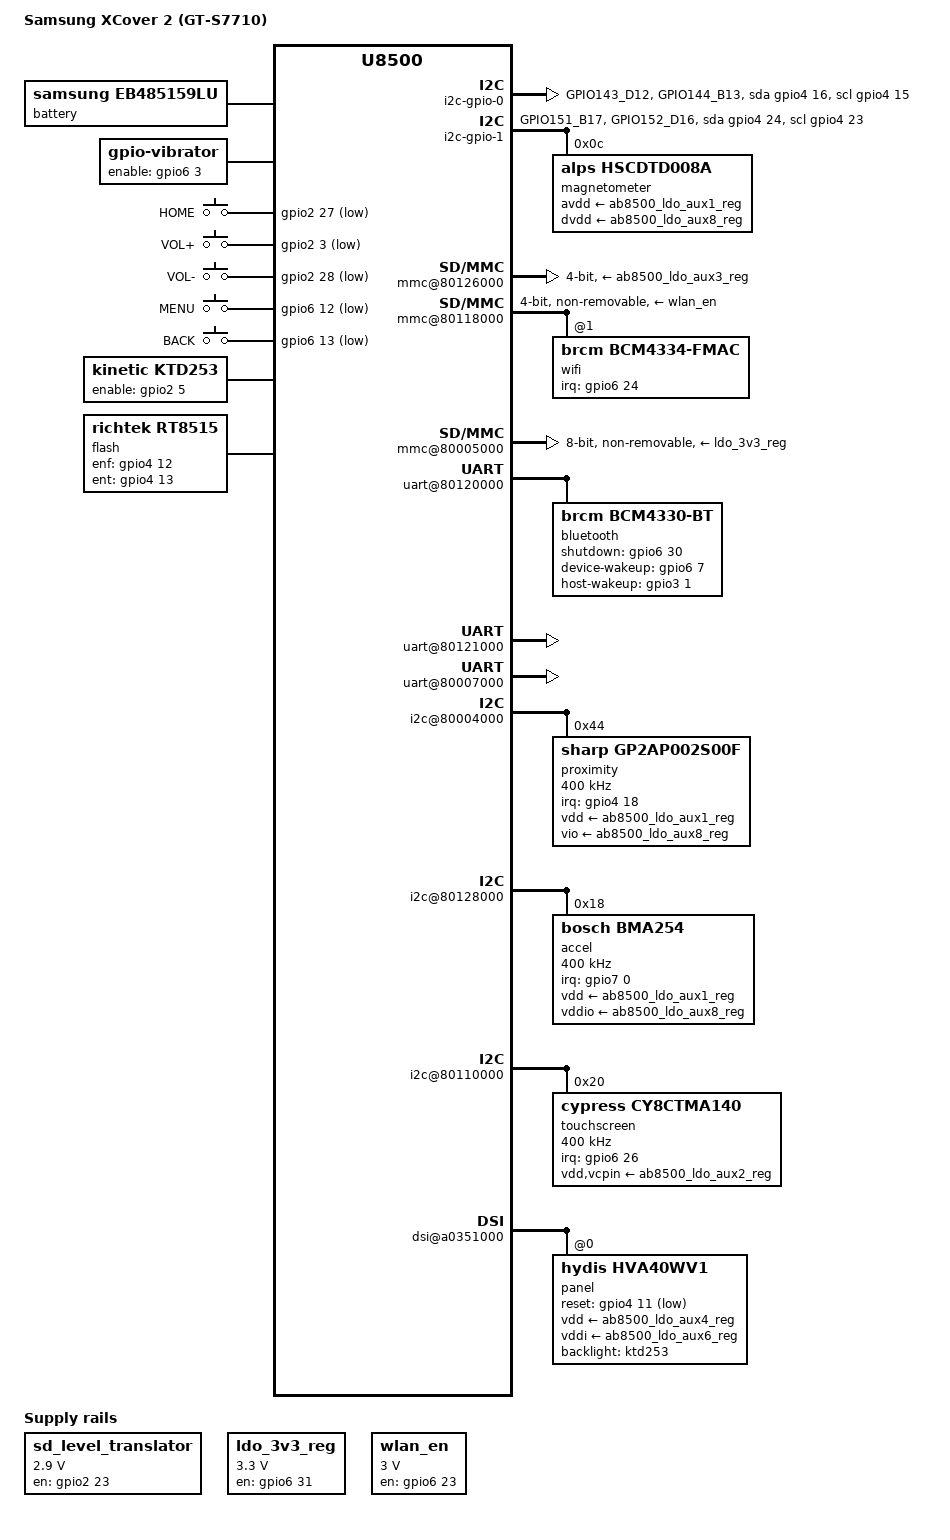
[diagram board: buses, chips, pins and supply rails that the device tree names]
// SPDX-License-Identifier: GPL-2.0-only
/*
 * Devicetree for the Samsung XCover 2 GT-S7710 also known as Skomer.
 */

/dts-v1/;
#include "ste-db8500.dtsi"
#include "ste-ab8505.dtsi"
#include "ste-dbx5x0-pinctrl.dtsi"
#include <dt-bindings/gpio/gpio.h>
#include <dt-bindings/leds/common.h>
#include <dt-bindings/input/input.h>
#include <dt-bindings/interrupt-controller/irq.h>

/ {
	model = "Samsung XCover 2 (GT-S7710)";
	compatible = "samsung,skomer", "st-ericsson,u8500";

	chosen {
		stdout-path = &serial2;
	};

	battery: battery {
		compatible = "samsung,eb485159lu";
	};

	/* TI TXS0206 level translator for 2.9 V */
	sd_level_translator: regulator-gpio {
		compatible = "regulator-fixed";

		/* GPIO87 EN */
		gpios = <&gpio2 23 GPIO_ACTIVE_HIGH>;
		enable-active-high;

		regulator-name = "sd-level-translator";
		regulator-min-microvolt = <2900000>;
		regulator-max-microvolt = <2900000>;
		regulator-type = "voltage";

		startup-delay-us = <200>;

		pinctrl-names = "default";
		pinctrl-0 = <&sd_level_translator_default>;
	};

	/* External LDO MIC5366-3.3YMT for eMMC */
	ldo_3v3_reg: regulator-gpio-ldo-3v3 {
		compatible = "regulator-fixed";
		regulator-name = "en-3v3-fixed-supply";
		regulator-min-microvolt = <3300000>;
		regulator-max-microvolt = <3300000>;
		gpio = <&gpio6 31 GPIO_ACTIVE_HIGH>;
		startup-delay-us = <5000>;
		enable-active-high;
		pinctrl-names = "default";
		pinctrl-0 = <&emmc_ldo_en_default_mode>;
	};

	wlan_en: regulator-gpio-wlan-en {
		compatible = "regulator-fixed";
		regulator-name = "wl-reg-on";
		regulator-min-microvolt = <3000000>;
		regulator-max-microvolt = <3000000>;
		startup-delay-us = <200000>;
		/* GPIO215 WLAN_EN */
		gpio = <&gpio6 23 GPIO_ACTIVE_HIGH>;
		enable-active-high;
		pinctrl-names = "default";
		pinctrl-0 = <&wlan_en_default_mode>;
	};

	vibrator {
		compatible = "gpio-vibrator";
		enable-gpios = <&gpio6 3 GPIO_ACTIVE_HIGH>;
		pinctrl-names = "default";
		pinctrl-0 = <&vibrator_default>;
	};

	gpio-keys {
		compatible = "gpio-keys";
		pinctrl-names = "default";
		pinctrl-0 = <&gpio_keys_default_mode>;

		button-home {
			linux,code = <KEY_HOME>;
			label = "HOME";
			/* GPIO91 */
			gpios = <&gpio2 27 GPIO_ACTIVE_LOW>;
		};
		button-volup {
			linux,code = <KEY_VOLUMEUP>;
			label = "VOL+";
			/* GPIO67 */
			gpios = <&gpio2 3 GPIO_ACTIVE_LOW>;
		};
		button-voldown {
			linux,code = <KEY_VOLUMEDOWN>;
			label = "VOL-";
			/* GPIO92 */
			gpios = <&gpio2 28 GPIO_ACTIVE_LOW>;
		};
		button-menu {
			linux,code = <KEY_MENU>;
			label = "MENU";
			/* GPIO204 */
			gpios = <&gpio6 12 GPIO_ACTIVE_LOW>;
		};
		button-back {
			linux,code = <KEY_BACK>;
			label = "BACK";
			/* GPIO205 */
			gpios = <&gpio6 13 GPIO_ACTIVE_LOW>;
		};
	};

	ktd253: backlight {
		compatible = "kinetic,ktd253";
		/* GPIO 69 */
		enable-gpios = <&gpio2 5 GPIO_ACTIVE_HIGH>;
		/* Default to 13/32 brightness */
		default-brightness = <13>;
		pinctrl-names = "default";
		pinctrl-0 = <&gpio_backlight_default_mode>;
	};

	/* Richtek RT8515GQW Flash LED Driver IC */
	flash {
		compatible = "richtek,rt8515";
		/* GPIO 140 */
		enf-gpios = <&gpio4 12 GPIO_ACTIVE_HIGH>;
		/* GPIO 141 */
		ent-gpios = <&gpio4 13 GPIO_ACTIVE_HIGH>;
		/*
		 * RFS is 16 kOhm and RTS is 100 kOhm giving
		 * the flash max current 343mA and torch max
		 * current 55 mA.
		 */
		richtek,rfs-ohms = <16000>;
		richtek,rts-ohms = <100000>;
		pinctrl-names = "default";
		pinctrl-0 = <&gpio_flash_default_mode>;

		led {
			function = LED_FUNCTION_FLASH;
			color = <LED_COLOR_ID_WHITE>;
			flash-max-timeout-us = <250000>;
			flash-max-microamp = <343750>;
			led-max-microamp = <55000>;
		};
	};

	i2c-gpio-0 {
		compatible = "i2c-gpio";
		sda-gpios = <&gpio4 16 (GPIO_ACTIVE_HIGH|GPIO_OPEN_DRAIN)>;
		scl-gpios = <&gpio4 15 (GPIO_ACTIVE_HIGH|GPIO_OPEN_DRAIN)>;
		pinctrl-names = "default";
		pinctrl-0 = <&i2c_gpio_0_default>;
		#address-cells = <1>;
		#size-cells = <0>;
		/* TODO: this should be used by the NCP6914 Camera power management unit */
	};

	i2c-gpio-1 {
		compatible = "i2c-gpio";
		sda-gpios = <&gpio4 24 (GPIO_ACTIVE_HIGH|GPIO_OPEN_DRAIN)>;
		scl-gpios = <&gpio4 23 (GPIO_ACTIVE_HIGH|GPIO_OPEN_DRAIN)>;
		pinctrl-names = "default";
		pinctrl-0 = <&i2c_gpio_1_default>;
		#address-cells = <1>;
		#size-cells = <0>;
		magnetometer@c {
			compatible = "alps,hscdtd008a";
			reg = <0x0c>;
			avdd-supply = <&ab8500_ldo_aux1_reg>;
			dvdd-supply = <&ab8500_ldo_aux8_reg>;
		};
	};

	soc {
		// External Micro SD slot
		mmc@80126000 {
			arm,primecell-periphid = <0x10480180>;
			max-frequency = <100000000>;
			bus-width = <4>;
			cap-sd-highspeed;
			cap-mmc-highspeed;
			/* All direction control is used */
			st,sig-pin-fbclk;
			full-pwr-cycle;
			vmmc-supply = <&ab8500_ldo_aux3_reg>;
			vqmmc-supply = <&sd_level_translator>;
			pinctrl-names = "default", "sleep";
			pinctrl-0 = <&mc0_a_1_default>;
			pinctrl-1 = <&mc0_a_1_sleep>;
			status = "okay";
		};

		// WLAN SDIO channel
		mmc@80118000 {
			arm,primecell-periphid = <0x10480180>;
			max-frequency = <50000000>;
			bus-width = <4>;
			non-removable;
			cap-sd-highspeed;
			vmmc-supply = <&wlan_en>;
			pinctrl-names = "default", "sleep";
			pinctrl-0 = <&mc1_a_2_default>;
			pinctrl-1 = <&mc1_a_2_sleep>;
			status = "okay";
			#address-cells = <1>;
			#size-cells = <0>;

			wifi@1 {
				compatible = "brcm,bcm4334-fmac", "brcm,bcm4329-fmac";
				reg = <1>;
				/* GPIO216 WL_HOST_WAKE */
				interrupt-parent = <&gpio6>;
				interrupts = <24 IRQ_TYPE_EDGE_FALLING>;
				interrupt-names = "host-wake";
				pinctrl-names = "default";
				pinctrl-0 = <&wlan_default_mode>;
			};
		};

		/*
		 * eMMC seems to be mostly Samsung KLM4G1YE4C "4YMD1R"
		 */
		mmc@80005000 {
			arm,primecell-periphid = <0x10480180>;
		        max-frequency = <100000000>;
			bus-width = <8>;
			non-removable;
			cap-mmc-highspeed;
			mmc-ddr-1_8v;
			no-sdio;
			no-sd;
			/* From datasheet page 26 figure 9: 300 ms set-up time for 4GB */
			post-power-on-delay-ms = <300>;
			vmmc-supply = <&ldo_3v3_reg>;
			pinctrl-names = "default", "sleep";
			pinctrl-0 = <&mc2_a_1_default>;
			pinctrl-1 = <&mc2_a_1_sleep>;

			status = "okay";
		};

		/* GBF (Bluetooth) UART */
		uart@80120000 {
			pinctrl-names = "default", "sleep";
			pinctrl-0 = <&u0_a_1_default>;
			pinctrl-1 = <&u0_a_1_sleep>;
			status = "okay";

			/* FIXME: not quite working yet, probably needs regulators */
			bluetooth {
				/* BCM4334B0 actually */
				compatible = "brcm,bcm4330-bt";
				shutdown-gpios = <&gpio6 30 GPIO_ACTIVE_HIGH>;
				device-wakeup-gpios = <&gpio6 7 GPIO_ACTIVE_HIGH>;
				host-wakeup-gpios = <&gpio3 1 GPIO_ACTIVE_HIGH>;
				pinctrl-names = "default";
				pinctrl-0 = <&bluetooth_default_mode>;
			};
		};

		/* GPF UART */
		uart@80121000 {
			status = "okay";
			pinctrl-names = "default", "sleep";
			pinctrl-0 = <&u1rxtx_a_1_default &u1ctsrts_a_1_default>;
			pinctrl-1 = <&u1rxtx_a_1_sleep &u1ctsrts_a_1_sleep>;
		};

		/* Debugging console UART connected to AB8505 USB */
		uart@80007000 {
			status = "okay";
			pinctrl-names = "default", "sleep";
			pinctrl-0 = <&u2rxtx_c_1_default>;
			pinctrl-1 = <&u2rxtx_c_1_sleep>;
		};

		prcmu@80157000 {
			ab8505 {
				ab8500_usb {
					pinctrl-names = "default", "sleep";
					pinctrl-0 = <&usb_a_1_default>;
					pinctrl-1 = <&usb_a_1_sleep>;
				};

				ab8505-regulators {
					ab8500_ldo_aux1 {
						/* Used for VDD for sensors */
						regulator-name = "AUX1";
						regulator-min-microvolt = <3000000>;
						regulator-max-microvolt = <3300000>;
					};

					ab8500_ldo_aux2 {
						/* Supplies the Cypress TMA140 touchscreen only with 3.0V */
						regulator-name = "AUX2";
						regulator-min-microvolt = <3000000>;
						regulator-max-microvolt = <3000000>;
					};

					ab8500_ldo_aux3 {
						/* Used for voltage for external MMC/SD card */
						regulator-name = "AUX3";
						regulator-min-microvolt = <1100000>;
						regulator-max-microvolt = <3300000>;
					};

					ab8500_ldo_aux4 {
						regulator-name = "AUX4";
						/* Hammer to 3.0V for the display */
						regulator-min-microvolt = <3000000>;
						regulator-max-microvolt = <3000000>;
					};

					ab8500_ldo_aux5 {
						regulator-name = "AUX5";
						/* Intended for 1V8 for touchscreen but actually left unused */
						regulator-min-microvolt = <1050000>;
						regulator-max-microvolt = <2790000>;
					};

					ab8500_ldo_aux6 {
						regulator-name = "AUX6";
						/* Hammer to 1.8V for the display */
						regulator-min-microvolt = <1800000>;
						regulator-max-microvolt = <1800000>;
					};

					ab8500_ldo_aux8 {
						/* Mostly VIO for sensors */
						regulator-name = "AUX8";
					};
				};
			};
		};

		/* I2C0 */
		i2c@80004000 {
			status = "okay";

			pinctrl-names = "default", "sleep";
			pinctrl-0 = <&i2c0_a_1_default>;
			pinctrl-1 = <&i2c0_a_1_sleep>;

			proximity@44 {
				compatible = "sharp,gp2ap002s00f";
				clock-frequency = <400000>;
				reg = <0x44>;

				interrupt-parent = <&gpio4>;
				interrupts = <18 IRQ_TYPE_EDGE_FALLING>;
				vdd-supply = <&ab8500_ldo_aux1_reg>;
				vio-supply = <&ab8500_ldo_aux8_reg>;
				pinctrl-names = "default";
				pinctrl-0 = <&gp2ap002_skomer_default>;
				sharp,proximity-far-hysteresis = /bits/ 8 <0x2f>;
				sharp,proximity-close-hysteresis = /bits/ 8 <0x0f>;
			};
		};


		/* I2C2 */
		i2c@80128000 {
			status = "okay";

			pinctrl-names = "default", "sleep";
			pinctrl-0 = <&i2c2_b_2_default>;
			pinctrl-1 = <&i2c2_b_2_sleep>;

			accel@18 {
				compatible = "bosch,bma254";
				clock-frequency = <400000>;
				reg = <0x18>;

				/* GPIO224 used as "smart alert" interrupt */
				interrupt-parent = <&gpio7>;
				interrupts = <0 IRQ_TYPE_EDGE_RISING>;

				mount-matrix = "0", "-1", "0",
					      "1", "0", "0",
					       "0", "0", "1";
				vdd-supply = <&ab8500_ldo_aux1_reg>;
				vddio-supply = <&ab8500_ldo_aux8_reg>;
				pinctrl-names = "default";
				pinctrl-0 = <&bma254_skomer_default>;
			};
		};

		/* I2C3 */
		i2c@80110000 {
			status = "okay";

			pinctrl-names = "default", "sleep";
			pinctrl-0 = <&i2c3_c_2_default>;
			pinctrl-1 = <&i2c3_c_2_sleep>;

			/* Cypress CY8CTMA140 touchscreen */
			touchscreen@20 {
				compatible = "cypress,cy8ctma140";
				clock-frequency = <400000>;
				reg = <0x20>;

				touchscreen-size-x = <480>;
				touchscreen-size-y = <800>;
				touchscreen-max-pressure = <255>;

				/* GPIO218 for IRQ */
				interrupt-parent = <&gpio6>;
				interrupts = <26 IRQ_TYPE_EDGE_FALLING>;

				/* VDD is "digital supply" nominally 1.71-3.6V */
				vdd-supply = <&ab8500_ldo_aux2_reg>;
				/* VCPIN is "analog supply", 2.7-3.6 V */
				vcpin-supply = <&ab8500_ldo_aux2_reg>;

				pinctrl-names = "default";
				pinctrl-0 = <&tma140_skomer_default>;
			};
		};

		mcde@a0350000 {
			status = "okay";
			pinctrl-names = "default";
			pinctrl-0 = <&dsi_default_mode>;

			dsi@a0351000 {
				panel {
					/* NT35510-based Hydis HVA40WV1 */
					compatible = "hydis,hva40wv1", "novatek,nt35510";
					reg = <0>;
					/* v_lcd_3v0 2.3-4.8V */
					vdd-supply = <&ab8500_ldo_aux4_reg>;
					/* v_lcd_1v8 1.65-3.3V */
					vddi-supply = <&ab8500_ldo_aux6_reg>;
					/* GPIO 139 */
					reset-gpios = <&gpio4 11 GPIO_ACTIVE_LOW>;
					pinctrl-names = "default";
					pinctrl-0 = <&display_default_mode>;
					backlight = <&ktd253>;
				};
			};
		};
	};
};

&pinctrl {
	sdi0 {
		mc0_a_1_default {
			default_cfg1 {
				/* GPIO18, 19 & 20 unused so pull down */
				ste,config = <&gpio_in_pd>;
			};
		};
	};

	/* This is a reset line for the eMMC */
	sdi2 {
		mc2_a_1_default {
			default_cfg2 {
				pins = "GPIO130_C8"; /* FBCLK */
				ste,config = <&gpio_in_pd>;
			};
		};
	};

	mcde {
		dsi_default_mode: dsi_default {
			default_mux1 {
				/* Mux in VSI0 used for DSI TE */
				function = "lcd";
				groups = "lcdvsi0_a_1"; /* VSI0 for LCD */
			};
			default_cfg1 {
				pins = "GPIO68_E1"; /* VSI0 */
				ste,config = <&in_nopull>;
			};
		};
	};

	/* Two GPIO lines used by the display */
	display {
		display_default_mode: display_default {
			skomer_cfg1 {
				/*
				 * OLED DETECT or check_pba, this appears to be high
				 * on "PBA" which I guess is "prototype board A".
				 */
				pins = "GPIO93_B7";
				ste,config = <&gpio_in_nopull>;
			};
			skomer_cfg2 {
				pins = "GPIO139_C9";
				/*
				 * MIPI_DSI0_RESET_N resets the display, leave high
				 * (de-asserted) so we only assert reset explicitly
				 * from the display driver.
				 */
				ste,config = <&gpio_out_hi>;
			};
		};
	};
	backlight {
		gpio_backlight_default_mode: backlight_default {
			skomer_cfg1 {
				pins = "GPIO69_E2"; /* LCD_BL_CTRL */
				ste,config = <&gpio_out_lo>;
			};
		};
	};
	flash {
		gpio_flash_default_mode: flash_default {
			skomer_cfg1 {
				pins = "GPIO140_B11", "GPIO141_C12";
				ste,config = <&gpio_out_lo>;
			};
		};
	};
	/* GPIO that enables the 2.9V SD card level translator */
	sd-level-translator {
		sd_level_translator_default: sd_level_translator_default {
			/* level shifter on GPIO87 */
			skomer_cfg1 {
				pins = "GPIO87_B3";
				ste,config = <&gpio_out_hi>;
			};
		};
	};
	/* GPIO that enables the LDO regulator for the eMMC */
	emmc-ldo {
		emmc_ldo_en_default_mode: emmc_ldo_default {
			/* LDO enable on GPIO223 */
			skomer_cfg1 {
				pins = "GPIO223_AH9";
				ste,config = <&gpio_out_hi>;
			};
		};
	};
	/* GPIO keys */
	gpio-keys {
		gpio_keys_default_mode: gpio_keys_default {
			skomer_cfg1 {
				pins = "GPIO67_G2", /* VOL UP */
				       "GPIO91_B6", /* HOME */
				       "GPIO92_D6", /* VOL DOWN */
				       "GPIO204_AF23", /* MENU */
				       "GPIO205_AG23"; /* BACK */
					ste,config = <&gpio_in_pu>;
			};
		};
	};
	/* Interrupt line for BMA254 */
	bma254 {
		bma254_skomer_default: bma254_skomer {
			skomer_cfg1 {
				pins = "GPIO224_AG9";
				ste,config = <&gpio_in_pd>;
			};
		};
	};
	/* Interrupt line for light/proximity sensor GP2AP002 */
	gp2ap002 {
		gp2ap002_skomer_default: gp2ap002_skomer {
			skomer_cfg1 {
				pins = "GPIO146_D13";
				ste,config = <&gpio_in_nopull>;
			};
		};
	};
	/* GPIO-based I2C bus for NCP6914 */
	i2c-gpio-0 {
		i2c_gpio_0_default: i2c_gpio_0 {
			skomer_cfg1 {
				pins = "GPIO143_D12", "GPIO144_B13";
				ste,config = <&gpio_in_nopull>;
			};
		};
	};
	/* GPIO-based I2C bus for ALPS HSCD compass */
	i2c-gpio-1 {
		i2c_gpio_1_default: i2c_gpio_1 {
			skomer_cfg1 {
				pins = "GPIO151_B17", "GPIO152_D16";
				ste,config = <&gpio_in_nopull>;
			};
		};
	};
	wlan {
		wlan_default_mode: wlan_default {
			skomer_cfg1 {
				pins = "GPIO216_AG12";
				ste,config = <&gpio_in_pd>;
			};
		};
		wlan_en_default_mode: wlan_en_default {
			skomer_cfg2 {
				pins = "GPIO215_AH13";
				ste,config = <&gpio_out_lo>;
			};
		};
	};
	bluetooth {
		bluetooth_default_mode: bluetooth_default {
			skomer_cfg1 {
				pins = "GPIO199_AH23", "GPIO222_AJ9";
				ste,config = <&gpio_out_lo>;
			};
			skomer_cfg2 {
				pins = "GPIO97_D9";
				ste,config = <&gpio_in_nopull>;
			};
		};
	};
	vibrator {
		vibrator_default: vibrator_default {
			skomer_cfg1 {
				pins = "GPIO195_AG28";	/* MOT_EN */
				ste,config = <&gpio_out_lo>;
			};
		};
	};
	/* Interrupt line for the Cypress TMA140 touchscreen */
	touchscreen {
		tma140_skomer_default: tma140_skomer {
			skomer_cfg1 {
				pins = "GPIO218_AH11";
				ste,config = <&gpio_in_nopull>;
			};
		};
	};
};

&ab8505_gpio {
	/* Hog a few default settings */
	pinctrl-names = "default";
	pinctrl-0 = <&gpio_default>;

	gpio {
		gpio_default: gpio_default {
			skomer_mux {
				/* Change unused pins to GPIO mode */
				function = "gpio";
				groups = "gpio3_a_1",	/* default: SysClkReq4 */
					 "gpio14_a_1";	/* default: PWMOut1 */
			};
			skomer_cfg1 {
				pins = "GPIO11_B17", "GPIO13_D17", "GPIO50_L4";
				bias-disable;
			};
		};
	};
};
